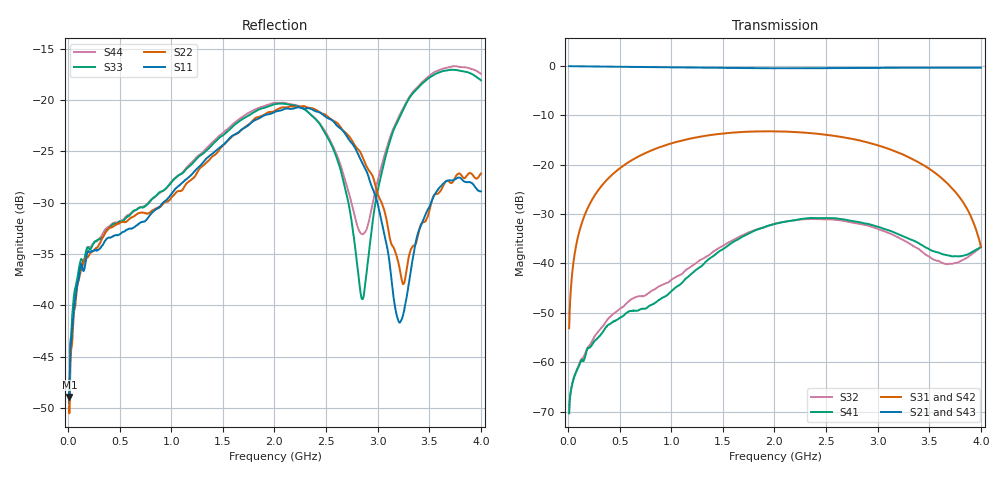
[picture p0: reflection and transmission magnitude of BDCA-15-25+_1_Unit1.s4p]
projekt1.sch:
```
<Qucs Schematic 0.0.19>
<Properties>
  <View=0,-720,1571,620,1,20,0>
  <Grid=10,10,1>
  <DataSet=projekt1.dat>
  <DataDisplay=projekt1.dpl>
  <OpenDisplay=1>
  <Script=projekt1.m>
  <RunScript=0>
  <showFrame=0>
  <FrameText0=Title>
  <FrameText1=Drawn By:>
  <FrameText2=Date:>
  <FrameText3=Revision:>
</Properties>
<Symbol>
</Symbol>
<Components>
  <.SP SP1 1 70 -670 0 65 0 0 "lin" 1 "1.7 GHz" 1 "1.9 GHz" 1 "19" 1 "no" 0 "1" 0 "2" 0 "no" 0 "no" 0>
  <GND * 1 310 -90 0 0 0 0>
  <GND * 1 600 -60 0 0 0 0>
  <SPfile Coupler 1 600 -120 -26 -70 0 0 "/home/ania/Pulpit/Studia/MIKE/BDCA-15-25+_1_Unit1.s4p" 0 "rectangular" 0 "linear" 0 "open" 0 "4" 0>
  <GND * 1 480 -30 0 0 0 0>
  <GND * 1 820 -90 0 0 0 0>
  <GND * 1 710 -30 0 0 0 0>
  <Pac P1 1 310 -120 18 -26 0 1 "1" 1 "50 Ohm" 1 "-6 dBm" 0 "1 GHz" 0 "26.85" 0>
  <Eqn Eqn1 1 380 -650 -38 16 0 0 "S11dB=dB(S[1,1])" 1 "S43dB=dB(S[4,3])" 1 "S21dB=dB(S[2,1])" 1 "S31dB=dB(S[3,1])" 1 "S41dB=dB(S[4,1])" 1 "yes" 0>
  <Pac P3 1 480 -60 18 -26 0 1 "4" 1 "50 Ohm" 1 "0 dBm" 0 "1 GHz" 0 "26.85" 0>
  <Pac P4 1 710 -60 18 -26 0 1 "3" 1 "50 Ohm" 1 "0 dBm" 0 "1 GHz" 0 "26.85" 0>
  <Pac P2 1 820 -120 18 -26 0 1 "2" 1 "50 Ohm" 1 "0 dBm" 0 "1 GHz" 0 "26.85" 0>
  <SUBST Subst1 1 1250 -210 -30 24 0 0 "9.8" 1 "1 mm" 1 "35 um" 1 "2e-4" 1 "0.022e-6" 1 "0.15e-6" 1>
  <C C1 1 990 -560 -26 17 0 0 "1 pF" 0 "" 0 "neutral" 0>
  <C C2 1 990 -460 -26 17 0 0 "1 pF" 0 "" 0 "neutral" 0>
  <L L1 1 910 -510 10 -26 0 1 "1 nH" 0 "" 0>
</Components>
<Wires>
  <630 -150 820 -150 "" 0 0 0 "">
  <630 -90 710 -90 "" 0 0 0 "">
  <310 -150 570 -150 "" 0 0 0 "">
  <480 -90 570 -90 "" 0 0 0 "">
  <910 -560 910 -540 "" 0 0 0 "">
  <910 -560 960 -560 "" 0 0 0 "">
  <1020 -560 1040 -560 "" 0 0 0 "">
  <1040 -560 1040 -460 "" 0 0 0 "">
  <1020 -460 1040 -460 "" 0 0 0 "">
  <910 -460 930 -460 "" 0 0 0 "">
  <910 -480 910 -460 "" 0 0 0 "">
  <910 -640 910 -560 "" 0 0 0 "">
  <1040 -640 1040 -560 "" 0 0 0 "">
  <930 -460 960 -460 "" 0 0 0 "">
  <930 -460 930 -380 "" 0 0 0 "">
</Wires>
<Diagrams>
  <Tab 50 -166 470 384 3 #c0c0c0 1 00 1 0 1 1 1 0 1 1 1 0 1 19 315 0 225 "" "" "">
	<"S11dB" #0000ff 0 3 1 0 0>
	<"S21dB" #0000ff 0 3 1 0 0>
	<"S31dB" #0000ff 0 3 1 0 0>
	<"S41dB" #0000ff 0 3 1 0 0>
	<"S43dB" #0000ff 0 3 1 0 0>
  </Tab>
</Diagrams>
<Paintings>
</Paintings>
```
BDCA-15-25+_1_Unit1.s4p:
!Mini-Circuits Lab;
!S-parameters;
!Model: BDCA-15-25+;  Unit1;
!Run: W55730; Lot: N/A; Date Code: N/A;
!Fixture: 90-1-20-113, S/N: 62007, Due: 06/16/2012;
!Connection: Port1 to Pin1, Port2 to Pin6, Port3 to Pin10, Port4 to Pin5, Pins 2,3,4,7,8,9 - grounded;
!Tested with PNA-L Network Analyzer N5230A, S/N: 67766, Cal.Due: 09/22/2012.
# MHZ S DB R 50
!Frequency  S11 dB  S11 DEG  S12 dB  S12 DEG  S13 dB  S13 DEG  S14 dB  S14 DEG
!  S21 dB  S21 DEG  S22 dB  S22 DEG  S23 dB  S23 DEG  S24 dB  S24 DEG
!  S31 dB  S31 DEG  S32 dB  S32 DEG  S33 dB  S33 DEG  S34 dB  S34 DEG
!  S41 dB  S41 DEG  S42 dB  S42 DEG  S43 dB  S43 DEG  S44 dB  S44 DEG
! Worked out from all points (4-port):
!   1546 points, 10 MHz to 4 GHz, reference 50 ohm
!   strongest paths, dB at 10 MHz, 782 MHz, 1.556 GHz, 2.328 GHz, 4 GHz:
!     S21: -0.1, -0.3, -0.4, -0.5, -0.4
!     S43: -0.1, -0.3, -0.5, -0.5, -0.5
!     S31: -53.1, -17.4, -13.6, -13.6, -36.6
!     S42: -53.2, -17.4, -13.6, -13.6, -36.1
!     S41: -70.3, -48.7, -36.3, -30.8, -36.7
!     S32: -70.3, -46.0, -35.7, -31.0, -36.7
!   lowest |S11| = -48.9 dB at 12 MHz (marker M1), VSWR 1.01, Z = 50.3 + j0.247 ohm
!   |S11| at or under -10 dB: start of sweep to end of sweep
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10  -48.56 49.4  -0.08 -0.7  -53.04 84.7  -70.29 -121.0
    -0.08 -0.7  -49.86 75.6  -70.22 -123.1  -53.09 84.8
    -53.08 85.3  -70.31 -127.7  -49.54 37.5  -0.08 -0.7
    -70.30 -123.8  -53.16 84.8  -0.10 -0.7  -48.82 48.0
12  -48.90 43.3  -0.08 -0.8  -51.65 84.5  -69.11 -128.2
    -0.09 -0.8  -50.50 66.4  -69.14 -129.0  -51.65 84.5
    -51.65 84.5  -69.03 -129.0  -49.10 34.4  -0.09 -0.9
    -69.20 -129.6  -51.67 84.5  -0.10 -0.8  -48.54 46.8
4000  -28.88 23.0  -0.40 134.7  -36.58 -156.0  -36.64 -115.9
      -0.40 134.7  -27.16 76.7  -36.71 -115.8  -36.09 -134.0
      -36.59 -156.1  -36.72 -115.8  -18.07 16.3  -0.47 128.6
      -36.67 -115.9  -36.11 -134.1  -0.47 128.6  -17.44 67.1
